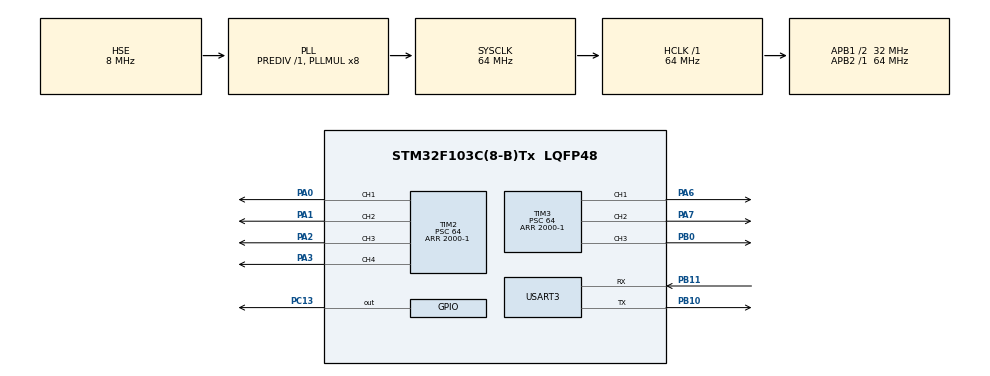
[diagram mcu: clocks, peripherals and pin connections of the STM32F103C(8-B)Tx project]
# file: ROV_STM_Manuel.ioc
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Mcu.Family=STM32F1
Mcu.Name=STM32F103C(8-B)Tx
Mcu.Package=LQFP48
NVIC.PriorityGroup=NVIC_PRIORITYGROUP_4
NVIC.TIM1_UP_IRQn=true\:15\:0\:false\:false\:true\:false\:true\:true
NVIC.TimeBase=TIM1_UP_IRQn
NVIC.TimeBaseIP=TIM1
PA0-WKUP.Signal=S_TIM2_CH1_ETR
PA1.Signal=S_TIM2_CH2
PA13.Mode=Serial_Wire
PA13.Signal=SYS_JTMS-SWDIO
PA14.Mode=Serial_Wire
PA14.Signal=SYS_JTCK-SWCLK
PA2.Signal=S_TIM2_CH3
PA3.Signal=S_TIM2_CH4
PA6.Signal=S_TIM3_CH1
PA7.Signal=S_TIM3_CH2
PB0.Signal=S_TIM3_CH3
PB10.Mode=Asynchronous
PB10.Signal=USART3_TX
PB11.Mode=Asynchronous
PB11.Signal=USART3_RX
PC13-TAMPER-RTC.Signal=GPIO_Output
PD0-OSC_IN.Mode=HSE-External-Oscillator
PD0-OSC_IN.Signal=RCC_OSC_IN
PD1-OSC_OUT.Mode=HSE-External-Oscillator
PD1-OSC_OUT.Signal=RCC_OSC_OUT
ProjectManager.HeapSize=0x200
ProjectManager.StackSize=0x400
ProjectManager.TargetToolchain=STM32CubeIDE
RCC.AHBFreq_Value=64000000
RCC.APB1CLKDivider=RCC_HCLK_DIV2
RCC.APB1Freq_Value=32000000
RCC.APB1TimFreq_Value=64000000
RCC.APB2Freq_Value=64000000
RCC.APB2TimFreq_Value=64000000
RCC.HCLKFreq_Value=64000000
RCC.PLLMUL=RCC_PLL_MUL8
RCC.PLLSourceVirtual=RCC_PLLSOURCE_HSE
RCC.SYSCLKFreq_VALUE=64000000
RCC.SYSCLKSource=RCC_SYSCLKSOURCE_PLLCLK
RCC.USBFreq_Value=64000000
SH.S_TIM2_CH1_ETR.0=TIM2_CH1,PWM Generation1 CH1
SH.S_TIM2_CH2.0=TIM2_CH2,PWM Generation2 CH2
SH.S_TIM2_CH3.0=TIM2_CH3,PWM Generation3 CH3
SH.S_TIM2_CH4.0=TIM2_CH4,PWM Generation4 CH4
SH.S_TIM3_CH1.0=TIM3_CH1,PWM Generation1 CH1
SH.S_TIM3_CH2.0=TIM3_CH2,PWM Generation2 CH2
SH.S_TIM3_CH3.0=TIM3_CH3,PWM Generation3 CH3
TIM2.Channel-PWM\ Generation1\ CH1=TIM_CHANNEL_1
TIM2.Channel-PWM\ Generation2\ CH2=TIM_CHANNEL_2
TIM2.Channel-PWM\ Generation3\ CH3=TIM_CHANNEL_3
TIM2.Channel-PWM\ Generation4\ CH4=TIM_CHANNEL_4
TIM2.Period=2000-1
TIM2.Prescaler=64
TIM3.Channel-PWM\ Generation1\ CH1=TIM_CHANNEL_1
TIM3.Channel-PWM\ Generation2\ CH2=TIM_CHANNEL_2
TIM3.Channel-PWM\ Generation3\ CH3=TIM_CHANNEL_3
TIM3.Period=2000-1
TIM3.Prescaler=64
USART3.VirtualMode=VM_ASYNC
VP_SYS_VS_tim1.Mode=TIM1
VP_TIM2_VS_ClockSourceINT.Mode=Internal
VP_TIM3_VS_ClockSourceINT.Mode=Internal
board=custom

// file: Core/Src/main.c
/* USER CODE BEGIN Header */
/**
  ******************************************************************************
  * @file           : main.c
  * @brief          : Main program body
  ******************************************************************************
  * @attention
  *
  * Copyright (c) 2024 STMicroelectronics.
  * All rights reserved.
  *
  * This software is licensed under terms that can be found in the LICENSE file
  * in the root directory of this software component.
  * If no LICENSE file comes with this software, it is provided AS-IS.
  *
  ******************************************************************************
  */
/* USER CODE END Header */
#include "main.h"

/* USER CODE BEGIN Includes */
#include "stdio.h"
#include "math.h"
#include "string.h"
#include "stdbool.h"
#include "stdlib.h"
/* USER CODE END Includes */

TIM_HandleTypeDef htim2;
TIM_HandleTypeDef htim3;

UART_HandleTypeDef huart3;

void SystemClock_Config(void);
static void MX_GPIO_Init(void);
static void MX_TIM2_Init(void);
static void MX_TIM3_Init(void);
static void MX_USART3_UART_Init(void);

/* USER CODE BEGIN 0 */
uint8_t MotorValueNow[7] = {125};
uint8_t MotorValueReceive[7] = {125};
uint8_t carpan = 4;
uint8_t delaysuresi = 9;
uint16_t dutycycle = 1000;

uint8_t RxData[16];
uint8_t TxData[10];

void motordegeratama()
{
	  __HAL_TIM_SET_COMPARE(&htim2,TIM_CHANNEL_1, (dutycycle + MotorValueNow[0]*carpan));
	  __HAL_TIM_SET_COMPARE(&htim2,TIM_CHANNEL_2, (dutycycle + MotorValueNow[1]*carpan));
	  __HAL_TIM_SET_COMPARE(&htim2,TIM_CHANNEL_3, (dutycycle + MotorValueNow[2]*carpan));
	  __HAL_TIM_SET_COMPARE(&htim2,TIM_CHANNEL_4, (dutycycle + MotorValueNow[3]*carpan));
	  __HAL_TIM_SET_COMPARE(&htim3,TIM_CHANNEL_1, (dutycycle + MotorValueNow[4]*carpan));
	  __HAL_TIM_SET_COMPARE(&htim3,TIM_CHANNEL_2, (dutycycle + MotorValueNow[5]*carpan));
	  __HAL_TIM_SET_COMPARE(&htim3,TIM_CHANNEL_3, (dutycycle + MotorValueNow[6]*carpan));
}

void motor_acma()
{
	HAL_TIM_PWM_Start(&htim2, TIM_CHANNEL_1);
	HAL_TIM_PWM_Start(&htim2, TIM_CHANNEL_2);
	HAL_TIM_PWM_Start(&htim2, TIM_CHANNEL_3);
	HAL_TIM_PWM_Start(&htim2, TIM_CHANNEL_4);
	HAL_TIM_PWM_Start(&htim3, TIM_CHANNEL_1);
	HAL_TIM_PWM_Start(&htim3, TIM_CHANNEL_2);
	HAL_TIM_PWM_Start(&htim3, TIM_CHANNEL_3);
}

void motordegersifirlama()
{
	for(uint8_t y = 0; y < sizeof(MotorValueNow); y++)
	{
		if(MotorValueNow[y] == 125)
		{

		}
		else if(MotorValueNow[y] > 125 && MotorValueNow[y] <= 250)
		{
			MotorValueNow[y]--;
		}
		else if(MotorValueNow[y] < 125 && MotorValueNow[y] >= 0)
		{
			MotorValueNow[y]++;
		}
		motordegeratama();
		HAL_Delay(delaysuresi);
	}
}

void motordegerrevalue()
{
	for(uint8_t x = 0; x < sizeof(MotorValueNow); x++)
	{
		if(MotorValueNow[x] == MotorValueReceive[x])
		{

		}
		else if(MotorValueNow[x] > MotorValueReceive[x])
		{
			MotorValueNow[x]--;
		}
		else if(MotorValueNow[x] < MotorValueReceive[x])
		{
			MotorValueNow[x]++;
		}
	}
	//HAL_Delay(delaysuresi);
}
/* USER CODE END 0 */

int main(void)
{

  /* MCU Configuration--------------------------------------------------------*/

  /* Reset of all peripherals, Initializes the Flash interface and the Systick. */
  HAL_Init();

  /* Configure the system clock */
  SystemClock_Config();

  /* Initialize all configured peripherals */
  MX_GPIO_Init();
  MX_TIM2_Init();
  MX_TIM3_Init();
  MX_USART3_UART_Init();
  /* USER CODE BEGIN 2 */
  HAL_GPIO_WritePin(GPIOC, GPIO_PIN_13, SET);
  motor_acma();
  /* USER CODE END 2 */

  /* Infinite loop */
  /* USER CODE BEGIN WHILE */
  while (1)
  {
	  //HAL_UART_Receive(&huart3, RxData, sizeof(RxData), 100);
	  if (HAL_UART_Receive(&huart3, RxData, sizeof(RxData), 100) == HAL_OK)
	  {
		  if (RxData[7] == 95 && RxData[15] == 95)
		  {
			  memcpy(MotorValueReceive, RxData, sizeof(MotorValueReceive));
			  HAL_GPIO_WritePin(GPIOC, GPIO_PIN_13, RESET);

		  }
		  else
		  {
			  HAL_GPIO_WritePin(GPIOC, GPIO_PIN_13, SET);
			  HAL_UART_Transmit(&huart3, (uint8_t*)"**********", sizeof(TxData), 50);
		  }
		  motordegerrevalue();
		  motordegeratama();
	  }
	  else
	  {
		  HAL_GPIO_WritePin(GPIOC, GPIO_PIN_13, SET);
	  }

    /* USER CODE END WHILE */

  }
}

void SystemClock_Config(void)
{
  RCC_OscInitTypeDef RCC_OscInitStruct = {0};
  RCC_ClkInitTypeDef RCC_ClkInitStruct = {0};

  /** Initializes the RCC Oscillators according to the specified parameters
  * in the RCC_OscInitTypeDef structure.
  */
  RCC_OscInitStruct.OscillatorType = RCC_OSCILLATORTYPE_HSE;
  RCC_OscInitStruct.HSEState = RCC_HSE_ON;
  RCC_OscInitStruct.HSEPredivValue = RCC_HSE_PREDIV_DIV1;
  RCC_OscInitStruct.HSIState = RCC_HSI_ON;
  RCC_OscInitStruct.PLL.PLLState = RCC_PLL_ON;
  RCC_OscInitStruct.PLL.PLLSource = RCC_PLLSOURCE_HSE;
  RCC_OscInitStruct.PLL.PLLMUL = RCC_PLL_MUL8;
  if (HAL_RCC_OscConfig(&RCC_OscInitStruct) != HAL_OK)
  {
    Error_Handler();
  }

  /** Initializes the CPU, AHB and APB buses clocks
  */
  RCC_ClkInitStruct.ClockType = RCC_CLOCKTYPE_HCLK|RCC_CLOCKTYPE_SYSCLK
                              |RCC_CLOCKTYPE_PCLK1|RCC_CLOCKTYPE_PCLK2;
  RCC_ClkInitStruct.SYSCLKSource = RCC_SYSCLKSOURCE_PLLCLK;
  RCC_ClkInitStruct.AHBCLKDivider = RCC_SYSCLK_DIV1;
  RCC_ClkInitStruct.APB1CLKDivider = RCC_HCLK_DIV2;
  RCC_ClkInitStruct.APB2CLKDivider = RCC_HCLK_DIV1;

  if (HAL_RCC_ClockConfig(&RCC_ClkInitStruct, FLASH_LATENCY_2) != HAL_OK)
  {
    Error_Handler();
  }
}

static void MX_TIM2_Init(void)
{

  TIM_ClockConfigTypeDef sClockSourceConfig = {0};
  TIM_MasterConfigTypeDef sMasterConfig = {0};
  TIM_OC_InitTypeDef sConfigOC = {0};

  htim2.Instance = TIM2;
  htim2.Init.Prescaler = 64;
  htim2.Init.CounterMode = TIM_COUNTERMODE_UP;
  htim2.Init.Period = 2000-1;
  htim2.Init.ClockDivision = TIM_CLOCKDIVISION_DIV1;
  htim2.Init.AutoReloadPreload = TIM_AUTORELOAD_PRELOAD_DISABLE;
  if (HAL_TIM_Base_Init(&htim2) != HAL_OK)
  {
    Error_Handler();
  }
  sClockSourceConfig.ClockSource = TIM_CLOCKSOURCE_INTERNAL;
  if (HAL_TIM_ConfigClockSource(&htim2, &sClockSourceConfig) != HAL_OK)
  {
    Error_Handler();
  }
  if (HAL_TIM_PWM_Init(&htim2) != HAL_OK)
  {
    Error_Handler();
  }
  sMasterConfig.MasterOutputTrigger = TIM_TRGO_RESET;
  sMasterConfig.MasterSlaveMode = TIM_MASTERSLAVEMODE_DISABLE;
  if (HAL_TIMEx_MasterConfigSynchronization(&htim2, &sMasterConfig) != HAL_OK)
  {
    Error_Handler();
  }
  sConfigOC.OCMode = TIM_OCMODE_PWM1;
  sConfigOC.Pulse = 0;
  sConfigOC.OCPolarity = TIM_OCPOLARITY_HIGH;
  sConfigOC.OCFastMode = TIM_OCFAST_DISABLE;
  if (HAL_TIM_PWM_ConfigChannel(&htim2, &sConfigOC, TIM_CHANNEL_1) != HAL_OK)
  {
    Error_Handler();
  }
  if (HAL_TIM_PWM_ConfigChannel(&htim2, &sConfigOC, TIM_CHANNEL_2) != HAL_OK)
  {
    Error_Handler();
  }
  if (HAL_TIM_PWM_ConfigChannel(&htim2, &sConfigOC, TIM_CHANNEL_3) != HAL_OK)
  {
    Error_Handler();
  }
  if (HAL_TIM_PWM_ConfigChannel(&htim2, &sConfigOC, TIM_CHANNEL_4) != HAL_OK)
  {
    Error_Handler();
  }
  HAL_TIM_MspPostInit(&htim2);

}

static void MX_TIM3_Init(void)
{

  TIM_ClockConfigTypeDef sClockSourceConfig = {0};
  TIM_MasterConfigTypeDef sMasterConfig = {0};
  TIM_OC_InitTypeDef sConfigOC = {0};

  htim3.Instance = TIM3;
  htim3.Init.Prescaler = 64;
  htim3.Init.CounterMode = TIM_COUNTERMODE_UP;
  htim3.Init.Period = 2000-1;
  htim3.Init.ClockDivision = TIM_CLOCKDIVISION_DIV1;
  htim3.Init.AutoReloadPreload = TIM_AUTORELOAD_PRELOAD_DISABLE;
  if (HAL_TIM_Base_Init(&htim3) != HAL_OK)
  {
    Error_Handler();
  }
  sClockSourceConfig.ClockSource = TIM_CLOCKSOURCE_INTERNAL;
  if (HAL_TIM_ConfigClockSource(&htim3, &sClockSourceConfig) != HAL_OK)
  {
    Error_Handler();
  }
  if (HAL_TIM_PWM_Init(&htim3) != HAL_OK)
  {
    Error_Handler();
  }
  sMasterConfig.MasterOutputTrigger = TIM_TRGO_RESET;
  sMasterConfig.MasterSlaveMode = TIM_MASTERSLAVEMODE_DISABLE;
  if (HAL_TIMEx_MasterConfigSynchronization(&htim3, &sMasterConfig) != HAL_OK)
  {
    Error_Handler();
  }
  sConfigOC.OCMode = TIM_OCMODE_PWM1;
  sConfigOC.Pulse = 0;
  sConfigOC.OCPolarity = TIM_OCPOLARITY_HIGH;
  sConfigOC.OCFastMode = TIM_OCFAST_DISABLE;
  if (HAL_TIM_PWM_ConfigChannel(&htim3, &sConfigOC, TIM_CHANNEL_1) != HAL_OK)
  {
    Error_Handler();
  }
  if (HAL_TIM_PWM_ConfigChannel(&htim3, &sConfigOC, TIM_CHANNEL_2) != HAL_OK)
  {
    Error_Handler();
  }
  if (HAL_TIM_PWM_ConfigChannel(&htim3, &sConfigOC, TIM_CHANNEL_3) != HAL_OK)
  {
    Error_Handler();
  }
  HAL_TIM_MspPostInit(&htim3);

}

static void MX_USART3_UART_Init(void)
{

  huart3.Instance = USART3;
  huart3.Init.BaudRate = 115200;
  huart3.Init.WordLength = UART_WORDLENGTH_8B;
  huart3.Init.StopBits = UART_STOPBITS_1;
  huart3.Init.Parity = UART_PARITY_NONE;
  huart3.Init.Mode = UART_MODE_TX_RX;
  huart3.Init.HwFlowCtl = UART_HWCONTROL_NONE;
  huart3.Init.OverSampling = UART_OVERSAMPLING_16;
  if (HAL_UART_Init(&huart3) != HAL_OK)
  {
    Error_Handler();
  }

}

static void MX_GPIO_Init(void)
{
  GPIO_InitTypeDef GPIO_InitStruct = {0};

  /* GPIO Ports Clock Enable */
  __HAL_RCC_GPIOC_CLK_ENABLE();
  __HAL_RCC_GPIOD_CLK_ENABLE();
  __HAL_RCC_GPIOA_CLK_ENABLE();
  __HAL_RCC_GPIOB_CLK_ENABLE();

  /*Configure GPIO pin Output Level */
  HAL_GPIO_WritePin(GPIOC, GPIO_PIN_13, GPIO_PIN_RESET);

  /*Configure GPIO pin : PC13 */
  GPIO_InitStruct.Pin = GPIO_PIN_13;
  GPIO_InitStruct.Mode = GPIO_MODE_OUTPUT_PP;
  GPIO_InitStruct.Pull = GPIO_NOPULL;
  GPIO_InitStruct.Speed = GPIO_SPEED_FREQ_LOW;
  HAL_GPIO_Init(GPIOC, &GPIO_InitStruct);

}

void HAL_TIM_PeriodElapsedCallback(TIM_HandleTypeDef *htim)
{
  if (htim->Instance == TIM1) {
    HAL_IncTick();
  }
}

void Error_Handler(void)
{
  __disable_irq();
  while (1)
  {
  }
}
